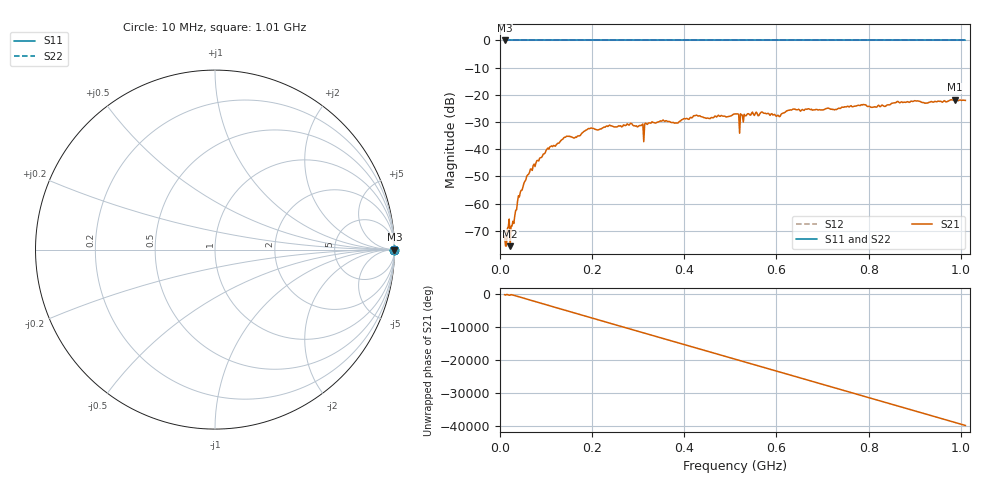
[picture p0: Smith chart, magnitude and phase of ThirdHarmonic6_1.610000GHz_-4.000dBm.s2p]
! 8/16/2025 7:12:26 PM
! C:\ANRITSUVNA\TEMP\TEMP.S2P
! CHANNEL.1
! TR.MEASUREMENT
! RAW.DATA
! RF.CORRECTION.OFF
! AVERAGING.OFF
! IF.BANDWIDTH: 5KHZ
! SWEEPTYPE:  FREQ.SWEEP(Linear)
! Reference Plane Port Info
! PORT:  PORT1  PORT2
! DISTANCE:  0  m  0  m
! TIME:  0  s  0  s
! PHASE.OFFSET:  0  deg.  0  deg.
! LOSS:  0  dB  0  dB
! REF.LOSS:  0  dB  0  dB
! REF.FREQ:  0  Hz  0  Hz
! Power Info
! POWER:  -20  dBm  -20  dBm
! EFF.POWER:  -20  dBm  -20  dBm
! SOURCE.ATTEN:  0  dB  0  dB
! TEST.ATTEN:  0  dB  0  dB
# GHZ S RI R 50.0
! FREQ.GHZ  S11RE  S11IM  S21RE  S21IM  S12RE  S12IM  S22RE  S22IM
!; PortSelection: Port_12
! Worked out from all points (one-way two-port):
!   501 points, 10 MHz to 1.01 GHz, reference 50 ohm
!   highest |S21| = -21.80 dB at 988 MHz (marker M1); lowest = -75.7 dB at 22 MHz (marker M2)
!   lowest |S11| = 0.0 dB at 10 MHz (marker M3)
!   |S11| at or under -10 dB: nowhere
!   |S22| runs from 0.0 to 0.0 dB; largest |S21 - S12| = 1.1
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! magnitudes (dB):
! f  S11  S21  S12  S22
! 10 MHz  0.0  -71.9  0.0  0.0
! 22 MHz  0.0  -75.7  0.0  0.0
! 26 MHz  0.0  -68.3  0.0  0.0
! 42 MHz  0.0  -57.6  0.0  0.0
! 70 MHz  0.0  -47.8  0.0  0.0
! 106 MHz  0.0  -40.0  0.0  0.0
! 142 MHz  0.0  -35.6  0.0  0.0
! 178 MHz  0.0  -34.1  0.0  0.0
! 236 MHz  0.0  -31.3  0.0  0.0
! 282 MHz  0.0  -30.8  0.0  0.0
! 308 MHz  0.0  -31.1  0.0  0.0
! 344 MHz  0.0  -30.0  0.0  0.0
! 510 MHz  0.0  -27.0  0.0  0.0
! 524 MHz  0.0  -27.3  0.0  0.0
! 526 MHz  0.0  -27.5  0.0  0.0
! 544 MHz  0.0  -27.5  0.0  0.0
! 604 MHz  0.0  -27.5  0.0  0.0
! 634 MHz  0.0  -25.5  0.0  0.0
! 678 MHz  0.0  -25.6  0.0  0.0
! 844 MHz  0.0  -23.7  0.0  0.0
! 988 MHz  0.0  -21.8  0.0  0.0
! 1.01 GHz  0.0  -22.1  0.0  0.0
